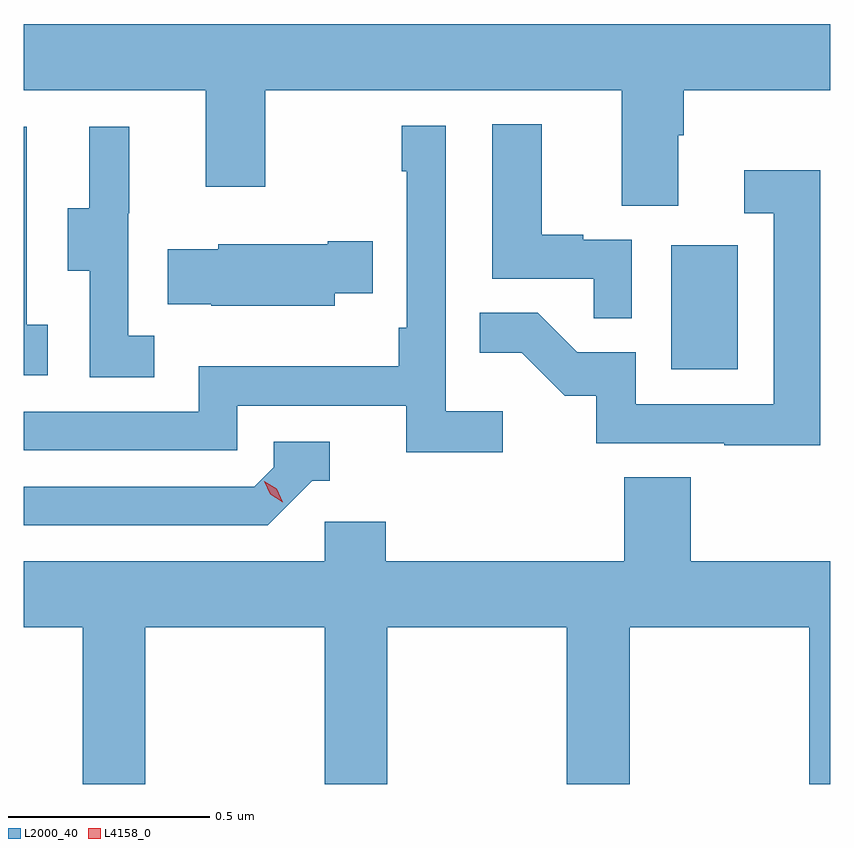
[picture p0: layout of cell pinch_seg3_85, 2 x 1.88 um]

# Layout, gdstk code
import gdstk
lib = gdstk.Library(unit=1e-6, precision=1e-09)
def R(c, l, rs):  # rectangles x0, y0, x1, y1
    for r in rs: c.add(gdstk.rectangle(r[:2], r[2:], *l))
def P(c, l, *ps):  # polygons
    for p in ps: c.add(gdstk.Polygon(p, *l))
L2000_40 = (2000, 40)
L4158_0 = (4158, 0)

pinch_seg3_85 = lib.new_cell('pinch_seg3_85')
R(pinch_seg3_85, L2000_40, [(1069.346,728.196,1069.51,728.503)])
P(pinch_seg3_85, L2000_40, [(1069.363,728.776),(1069.376,728.776),(1069.376,728.888),(1069.74,728.888),(1069.74,729.052),(1067.74,729.052),(1067.74,728.888),(1068.191,728.888),(1068.191,728.649),(1068.339,728.649),(1068.339,728.888),(1069.223,728.888),(1069.223,728.602),(1069.363,728.602)],
  [(1069.248,728.517),(1069.127,728.517),(1069.127,728.53),(1069.024,728.53),(1069.024,728.803),(1068.902,728.803),(1068.902,728.421),(1069.153,728.421),(1069.153,728.323),(1069.248,728.323)],
  [(1068.928,728.092),(1068.786,728.092),(1068.786,728.8),(1068.678,728.8),(1068.678,728.687),(1068.69,728.687),(1068.69,728.299),(1068.67,728.299),(1068.67,728.203),(1068.174,728.203),(1068.174,728.091),(1067.74,728.091),(1067.74,727.995),(1068.27,727.995),(1068.27,728.106),(1068.689,728.106),(1068.689,727.99),(1068.928,727.99)],
  [(1068.064,728.279),(1068,728.279),(1068,728.583),(1068.002,728.583),(1068.002,728.797),(1067.903,728.797),(1067.903,728.595),(1067.849,728.595),(1067.849,728.44),(1067.904,728.44),(1067.904,728.176),(1068.064,728.176)],
  [(1067.8,728.306),(1067.748,728.306),(1067.748,728.797),(1067.74,728.797),(1067.74,728.181),(1067.8,728.181)],
  [(1069.715,728.689),(1069.527,728.689),(1069.527,728.583),(1069.599,728.583),(1069.599,728.109),(1069.257,728.109),(1069.257,728.238),(1069.112,728.238),(1069.014,728.336),(1068.871,728.336),(1068.871,728.237),(1068.975,728.237),(1069.082,728.13),(1069.159,728.13),(1069.159,728.013),(1069.477,728.013),(1069.477,728.008),(1069.715,728.008)],
  [(1068.511,728.384),(1068.605,728.384),(1068.605,728.514),(1068.494,728.514),(1068.494,728.506),(1068.222,728.506),(1068.222,728.494),(1068.097,728.494),(1068.097,728.357),(1068.205,728.357),(1068.205,728.354),(1068.511,728.354)],
  [(1068.456,727.92),(1068.499,727.92),(1068.499,728.016),(1068.36,728.016),(1068.36,727.953),(1068.312,727.905),(1067.74,727.905),(1067.74,727.809),(1068.345,727.809)],
  [(1067.74,727.556),(1067.887,727.556),(1067.887,727.168),(1068.042,727.168),(1068.042,727.556),(1068.487,727.556),(1068.487,727.168),(1068.642,727.168),(1068.642,727.556),(1069.087,727.556),(1069.087,727.168),(1069.242,727.168),(1069.242,727.556),(1069.687,727.556),(1069.687,727.168),(1069.74,727.168),(1069.74,727.72),(1069.394,727.72),(1069.394,727.928),(1069.229,727.928),(1069.229,727.72),(1068.638,727.72),(1068.638,727.818),(1068.486,727.818),(1068.486,727.72),(1067.74,727.72)])
P(pinch_seg3_85, L4158_0, [(1068.383,727.867),(1068.352,727.886),(1068.336,727.919),(1068.336,727.919),(1068.336,727.919),(1068.367,727.9),(1068.383,727.867),(1068.383,727.867)])

lib.write_gds('pinch_seg3_85.gds')
